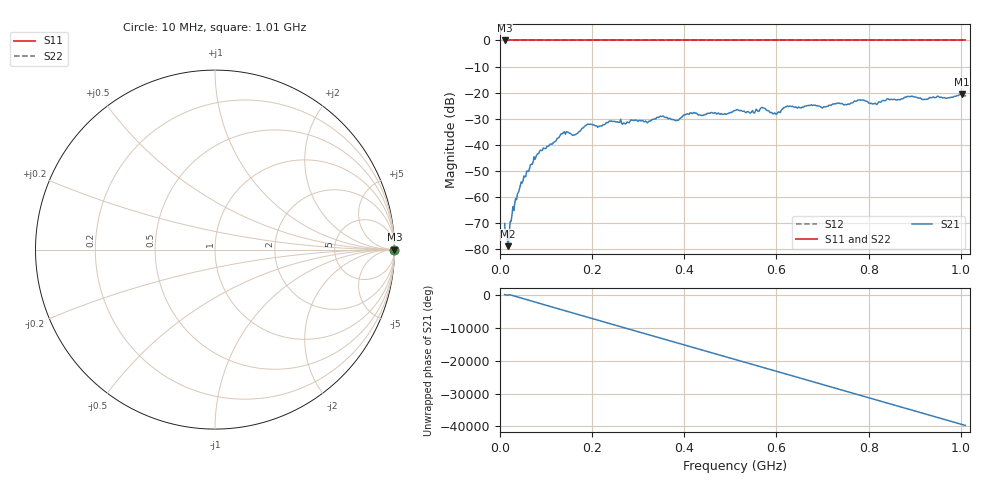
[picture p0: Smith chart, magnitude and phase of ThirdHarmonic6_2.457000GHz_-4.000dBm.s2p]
! 8/17/2025 4:25:39 AM
! C:\ANRITSUVNA\TEMP\TEMP.S2P
! CHANNEL.1
! TR.MEASUREMENT
! RAW.DATA
! RF.CORRECTION.OFF
! AVERAGING.OFF
! IF.BANDWIDTH: 5KHZ
! SWEEPTYPE:  FREQ.SWEEP(Linear)
! Reference Plane Port Info
! PORT:  PORT1  PORT2
! DISTANCE:  0  m  0  m
! TIME:  0  s  0  s
! PHASE.OFFSET:  0  deg.  0  deg.
! LOSS:  0  dB  0  dB
! REF.LOSS:  0  dB  0  dB
! REF.FREQ:  0  Hz  0  Hz
! Power Info
! POWER:  -20  dBm  -20  dBm
! EFF.POWER:  -20  dBm  -20  dBm
! SOURCE.ATTEN:  0  dB  0  dB
! TEST.ATTEN:  0  dB  0  dB
# GHZ S RI R 50.0
! FREQ.GHZ  S11RE  S11IM  S21RE  S21IM  S12RE  S12IM  S22RE  S22IM
!; PortSelection: Port_12
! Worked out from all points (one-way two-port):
!   501 points, 10 MHz to 1.01 GHz, reference 50 ohm
!   highest |S21| = -20.56 dB at 1.002 GHz (marker M1); lowest = -78.8 dB at 18 MHz (marker M2)
!   lowest |S11| = 0.0 dB at 10 MHz (marker M3)
!   |S11| at or under -10 dB: nowhere
!   |S22| runs from 0.0 to 0.0 dB; largest |S21 - S12| = 1.1
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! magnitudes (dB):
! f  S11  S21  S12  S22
! 10 MHz  0.0  -70.2  0.0  0.0
! 16 MHz  0.0  -76.7  0.0  0.0
! 18 MHz  0.0  -78.8  0.0  0.0
! 30 MHz  0.0  -65.2  0.0  0.0
! 42 MHz  0.0  -57.1  0.0  0.0
! 78 MHz  0.0  -44.6  0.0  0.0
! 136 MHz  0.0  -35.7  0.0  0.0
! 162 MHz  0.0  -36.2  0.0  0.0
! 178 MHz  0.0  -33.7  0.0  0.0
! 192 MHz  0.0  -32.1  0.0  0.0
! 322 MHz  0.0  -31.2  0.0  0.0
! 344 MHz  0.0  -29.5  0.0  0.0
! 384 MHz  0.0  -30.7  0.0  0.0
! 416 MHz  0.0  -28.0  0.0  0.0
! 510 MHz  0.0  -26.9  0.0  0.0
! 570 MHz  0.0  -25.8  0.0  0.0
! 596 MHz  0.0  -27.8  0.0  0.0
! 624 MHz  0.0  -25.1  0.0  0.0
! 678 MHz  0.0  -24.8  0.0  0.0
! 844 MHz  0.0  -22.6  0.0  0.0
! 1.002 GHz  0.0  -20.6  0.0  0.0
! 1.01 GHz  0.0  -21.2  0.0  0.0
